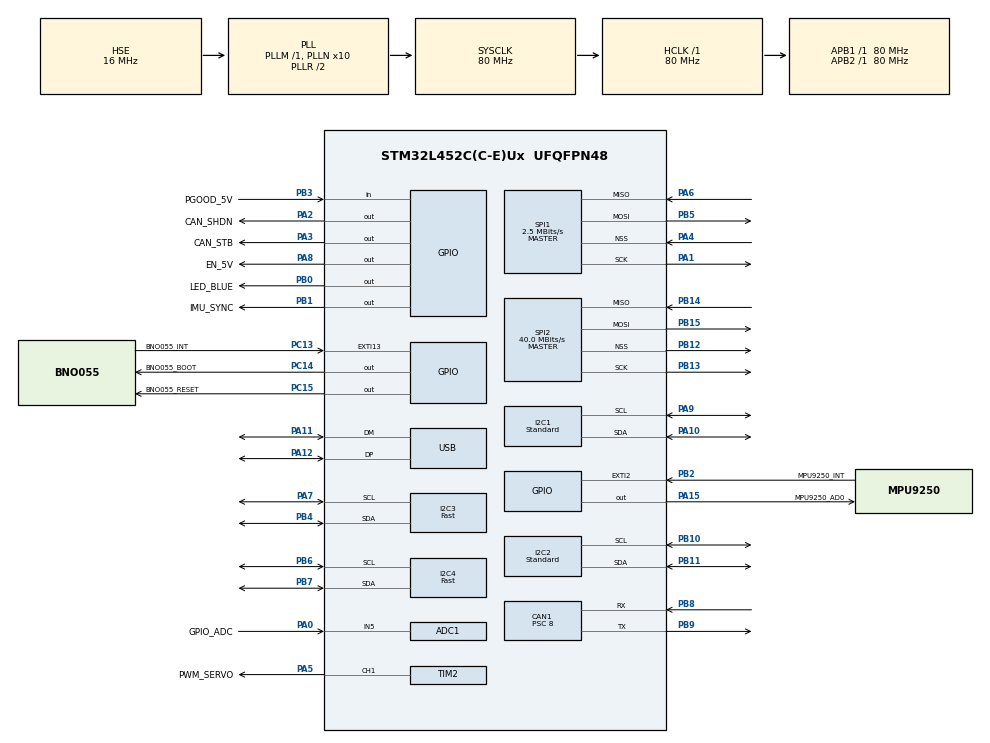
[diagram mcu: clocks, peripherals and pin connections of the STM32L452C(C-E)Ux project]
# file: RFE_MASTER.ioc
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ADC1.Channel-0\#ChannelRegularConversion=ADC_CHANNEL_5
ADC1.NbrOfConversionFlag=1
ADC1.OffsetNumber-0\#ChannelRegularConversion=ADC_OFFSET_NONE
ADC1.Rank-0\#ChannelRegularConversion=1
ADC1.SamplingTime-0\#ChannelRegularConversion=ADC_SAMPLETIME_2CYCLES_5
ADC1.master=1
CAN1.BS1=CAN_BS1_5TQ
CAN1.BS2=CAN_BS2_4TQ
CAN1.CalculateTimeBit=1200
CAN1.CalculateTimeQuantum=100.0
CAN1.Prescaler=8
Dma.I2C1_RX.8.Direction=DMA_PERIPH_TO_MEMORY
Dma.I2C1_RX.8.Instance=DMA1_Channel7
Dma.I2C1_RX.8.MemDataAlignment=DMA_MDATAALIGN_BYTE
Dma.I2C1_RX.8.MemInc=DMA_MINC_ENABLE
Dma.I2C1_RX.8.Mode=DMA_NORMAL
Dma.I2C1_RX.8.PeriphDataAlignment=DMA_PDATAALIGN_BYTE
Dma.I2C1_RX.8.PeriphInc=DMA_PINC_DISABLE
Dma.I2C1_RX.8.Priority=DMA_PRIORITY_LOW
Dma.I2C1_TX.7.Direction=DMA_MEMORY_TO_PERIPH
Dma.I2C1_TX.7.Instance=DMA1_Channel6
Dma.I2C1_TX.7.MemDataAlignment=DMA_MDATAALIGN_BYTE
Dma.I2C1_TX.7.MemInc=DMA_MINC_ENABLE
Dma.I2C1_TX.7.Mode=DMA_NORMAL
Dma.I2C1_TX.7.PeriphDataAlignment=DMA_PDATAALIGN_BYTE
Dma.I2C1_TX.7.PeriphInc=DMA_PINC_DISABLE
Dma.I2C1_TX.7.Priority=DMA_PRIORITY_LOW
Dma.I2C2_RX.0.Direction=DMA_PERIPH_TO_MEMORY
Dma.I2C2_RX.0.Instance=DMA1_Channel5
Dma.I2C2_RX.0.MemDataAlignment=DMA_MDATAALIGN_BYTE
Dma.I2C2_RX.0.MemInc=DMA_MINC_ENABLE
Dma.I2C2_RX.0.Mode=DMA_NORMAL
Dma.I2C2_RX.0.PeriphDataAlignment=DMA_PDATAALIGN_BYTE
Dma.I2C2_RX.0.PeriphInc=DMA_PINC_DISABLE
Dma.I2C2_RX.0.Priority=DMA_PRIORITY_LOW
Dma.I2C2_TX.1.Direction=DMA_MEMORY_TO_PERIPH
Dma.I2C2_TX.1.Instance=DMA1_Channel4
Dma.I2C2_TX.1.MemDataAlignment=DMA_MDATAALIGN_BYTE
Dma.I2C2_TX.1.MemInc=DMA_MINC_ENABLE
Dma.I2C2_TX.1.Mode=DMA_NORMAL
Dma.I2C2_TX.1.PeriphDataAlignment=DMA_PDATAALIGN_BYTE
Dma.I2C2_TX.1.PeriphInc=DMA_PINC_DISABLE
Dma.I2C2_TX.1.Priority=DMA_PRIORITY_LOW
Dma.I2C3_RX.2.Direction=DMA_PERIPH_TO_MEMORY
Dma.I2C3_RX.2.Instance=DMA1_Channel3
Dma.I2C3_RX.2.MemDataAlignment=DMA_MDATAALIGN_BYTE
Dma.I2C3_RX.2.MemInc=DMA_MINC_ENABLE
Dma.I2C3_RX.2.Mode=DMA_NORMAL
Dma.I2C3_RX.2.PeriphDataAlignment=DMA_PDATAALIGN_BYTE
Dma.I2C3_RX.2.PeriphInc=DMA_PINC_DISABLE
Dma.I2C3_RX.2.Priority=DMA_PRIORITY_LOW
Dma.I2C3_TX.3.Direction=DMA_MEMORY_TO_PERIPH
Dma.I2C3_TX.3.Instance=DMA1_Channel2
Dma.I2C3_TX.3.MemDataAlignment=DMA_MDATAALIGN_BYTE
Dma.I2C3_TX.3.MemInc=DMA_MINC_ENABLE
Dma.I2C3_TX.3.Mode=DMA_NORMAL
Dma.I2C3_TX.3.PeriphDataAlignment=DMA_PDATAALIGN_BYTE
Dma.I2C3_TX.3.PeriphInc=DMA_PINC_DISABLE
Dma.I2C3_TX.3.Priority=DMA_PRIORITY_LOW
Dma.I2C4_RX.4.Direction=DMA_PERIPH_TO_MEMORY
Dma.I2C4_RX.4.Instance=DMA2_Channel1
Dma.I2C4_RX.4.MemDataAlignment=DMA_MDATAALIGN_BYTE
Dma.I2C4_RX.4.MemInc=DMA_MINC_ENABLE
Dma.I2C4_RX.4.Mode=DMA_NORMAL
Dma.I2C4_RX.4.PeriphDataAlignment=DMA_PDATAALIGN_BYTE
Dma.I2C4_RX.4.PeriphInc=DMA_PINC_DISABLE
Dma.I2C4_RX.4.Priority=DMA_PRIORITY_LOW
Dma.I2C4_TX.5.Direction=DMA_MEMORY_TO_PERIPH
Dma.I2C4_TX.5.Instance=DMA2_Channel2
Dma.I2C4_TX.5.MemDataAlignment=DMA_MDATAALIGN_BYTE
Dma.I2C4_TX.5.MemInc=DMA_MINC_ENABLE
Dma.I2C4_TX.5.Mode=DMA_NORMAL
Dma.I2C4_TX.5.PeriphDataAlignment=DMA_PDATAALIGN_BYTE
Dma.I2C4_TX.5.PeriphInc=DMA_PINC_DISABLE
Dma.I2C4_TX.5.Priority=DMA_PRIORITY_LOW
Dma.Request0=I2C2_RX
Dma.Request1=I2C2_TX
Dma.Request2=I2C3_RX
Dma.Request3=I2C3_TX
Dma.Request4=I2C4_RX
Dma.Request5=I2C4_TX
Dma.Request6=SPI1_TX
Dma.Request7=I2C1_TX
Dma.Request8=I2C1_RX
Dma.SPI1_TX.6.Direction=DMA_MEMORY_TO_PERIPH
Dma.SPI1_TX.6.Instance=DMA2_Channel4
Dma.SPI1_TX.6.MemDataAlignment=DMA_MDATAALIGN_BYTE
Dma.SPI1_TX.6.MemInc=DMA_MINC_ENABLE
Dma.SPI1_TX.6.Mode=DMA_NORMAL
Dma.SPI1_TX.6.PeriphDataAlignment=DMA_PDATAALIGN_BYTE
Dma.SPI1_TX.6.PeriphInc=DMA_PINC_DISABLE
Dma.SPI1_TX.6.Priority=DMA_PRIORITY_LOW
I2C1.I2C_Speed_Mode=I2C_Standard
I2C2.I2C_Speed_Mode=I2C_Standard
I2C2.Timing=0x10909CEC
I2C3.I2C_Speed_Mode=I2C_Fast
I2C3.Timing=0x00702991
I2C4.I2C_Speed_Mode=I2C_Fast
I2C4.Timing=0x00702991
Mcu.Family=STM32L4
Mcu.Name=STM32L452C(C-E)Ux
Mcu.Package=UFQFPN48
NVIC.CAN1_RX0_IRQn=true\:0\:0\:false\:false\:true\:true
NVIC.CAN1_RX1_IRQn=true\:0\:0\:false\:false\:true\:true
NVIC.CAN1_TX_IRQn=true\:0\:0\:false\:false\:true\:true
NVIC.DMA1_Channel2_IRQn=true\:0\:0\:false\:false\:true\:true
NVIC.DMA1_Channel3_IRQn=true\:0\:0\:false\:false\:true\:true
NVIC.DMA1_Channel4_IRQn=true\:0\:0\:false\:false\:true\:true
NVIC.DMA1_Channel5_IRQn=true\:0\:0\:false\:false\:true\:true
NVIC.DMA1_Channel6_IRQn=true\:0\:0\:false\:false\:true\:true
NVIC.DMA1_Channel7_IRQn=true\:0\:0\:false\:false\:true\:true
NVIC.DMA2_Channel1_IRQn=true\:0\:0\:false\:false\:true\:true
NVIC.DMA2_Channel2_IRQn=true\:0\:0\:false\:false\:true\:true
NVIC.DMA2_Channel4_IRQn=true\:0\:0\:false\:false\:true\:true
NVIC.I2C1_ER_IRQn=true\:0\:0\:false\:false\:true\:true
NVIC.I2C1_EV_IRQn=true\:0\:0\:false\:false\:true\:true
NVIC.I2C2_ER_IRQn=true\:0\:0\:false\:false\:true\:true
NVIC.I2C2_EV_IRQn=true\:0\:0\:false\:false\:true\:true
NVIC.PriorityGroup=NVIC_PRIORITYGROUP_4
NVIC.SPI1_IRQn=true\:0\:0\:false\:false\:true\:true
NVIC.TIM1_UP_TIM16_IRQn=true\:0\:0\:false\:false\:true\:true
NVIC.TIM6_DAC_IRQn=true\:0\:0\:false\:false\:true\:true
NVIC.USB_IRQn=true\:0\:0\:false\:false\:true\:true
PA0.GPIO_Label=GPIO_ADC
PA0.Signal=ADCx_IN5
PA1.GPIO_PuPd=GPIO_PULLUP
PA1.Mode=Full_Duplex_Master
PA1.Signal=SPI1_SCK
PA10.Mode=I2C
PA10.Signal=I2C1_SDA
PA11.Mode=Device
PA11.Signal=USB_DM
PA12.Mode=Device
PA12.Signal=USB_DP
PA13\ (JTMS/SWDIO).Mode=Serial_Wire
PA13\ (JTMS/SWDIO).Signal=SYS_JTMS-SWDIO
PA14\ (JTCK/SWCLK).Mode=Serial_Wire
PA14\ (JTCK/SWCLK).Signal=SYS_JTCK-SWCLK
PA15\ (JTDI).GPIO_Label=MPU9250_AD0
PA15\ (JTDI).Signal=GPIO_Output
PA2.GPIO_Label=CAN_SHDN
PA2.Signal=GPIO_Output
PA3.GPIO_Label=CAN_STB
PA3.Signal=GPIO_Output
PA4.GPIO_PuPd=GPIO_PULLUP
PA4.Mode=NSS_Signal_Hard_Input
PA4.Signal=SPI1_NSS
PA5.GPIO_Label=PWM_SERVO
PA5.Signal=S_TIM2_CH1
PA6.GPIO_PuPd=GPIO_PULLUP
PA6.Mode=Full_Duplex_Master
PA6.Signal=SPI1_MISO
PA7.Mode=I2C
PA7.Signal=I2C3_SCL
PA8.GPIO_Label=EN_5V
PA8.Signal=GPIO_Output
PA9.Mode=I2C
PA9.Signal=I2C1_SCL
PB0.GPIO_Label=LED_BLUE
PB0.Signal=GPIO_Output
PB1.GPIO_Label=IMU_SYNC
PB1.Signal=GPIO_Output
PB10.Mode=I2C
PB10.Signal=I2C2_SCL
PB11.Mode=I2C
PB11.Signal=I2C2_SDA
PB12.Mode=NSS_Signal_Hard_Output
PB12.Signal=SPI2_NSS
PB13.Mode=Full_Duplex_Master
PB13.Signal=SPI2_SCK
PB14.Mode=Full_Duplex_Master
PB14.Signal=SPI2_MISO
PB15.Mode=Full_Duplex_Master
PB15.Signal=SPI2_MOSI
PB2.GPIO_Label=MPU9250_INT
PB2.Signal=GPXTI2
PB3\ (JTDO/TRACESWO).GPIO_Label=PGOOD_5V
PB3\ (JTDO/TRACESWO).Signal=GPIO_Input
PB4\ (NJTRST).Mode=I2C
PB4\ (NJTRST).Signal=I2C3_SDA
PB5.GPIO_PuPd=GPIO_PULLUP
PB5.Mode=Full_Duplex_Master
PB5.Signal=SPI1_MOSI
PB6.Mode=I2C
PB6.Signal=I2C4_SCL
PB7.Mode=I2C
PB7.Signal=I2C4_SDA
PB8.Mode=Master
PB8.Signal=CAN1_RX
PB9.Mode=Master
PB9.Signal=CAN1_TX
PC13.GPIO_Label=BNO055_INT
PC13.Signal=GPXTI13
PC14-OSC32_IN\ (PC14).GPIO_Label=BNO055_BOOT
PC14-OSC32_IN\ (PC14).Signal=GPIO_Output
PC15-OSC32_OUT\ (PC15).GPIO_Label=BNO055_RESET
PC15-OSC32_OUT\ (PC15).Signal=GPIO_Output
PH0-OSC_IN\ (PH0).Mode=HSE-External-Oscillator
PH0-OSC_IN\ (PH0).Signal=RCC_OSC_IN
PH1-OSC_OUT\ (PH1).Mode=HSE-External-Oscillator
PH1-OSC_OUT\ (PH1).Signal=RCC_OSC_OUT
ProjectManager.HeapSize=0x200
ProjectManager.StackSize=0x400
ProjectManager.TargetToolchain=MDK-ARM V5
RCC.ADCFreq_Value=48000000
RCC.AHBFreq_Value=80000000
RCC.APB1Freq_Value=80000000
RCC.APB1TimFreq_Value=80000000
RCC.APB2Freq_Value=80000000
RCC.APB2TimFreq_Value=80000000
RCC.CortexFreq_Value=80000000
RCC.HCLKFreq_Value=80000000
RCC.HSE_VALUE=16000000
RCC.HSI48_VALUE=48000000
RCC.HSI_VALUE=16000000
RCC.LSE_VALUE=32768
RCC.MSI_VALUE=4000000
RCC.PLLN=10
RCC.PLLSAI1N=12
RCC.PLLSAI1Q=RCC_PLLQ_DIV4
RCC.PLLSAI1R=RCC_PLLR_DIV4
RCC.PLLSourceVirtual=RCC_PLLSOURCE_HSE
RCC.SYSCLKFreq_VALUE=80000000
RCC.SYSCLKSource=RCC_SYSCLKSOURCE_PLLCLK
RCC.USBFreq_Value=48000000
RCC.VCOOutputFreq_Value=160000000
SH.ADCx_IN5.0=ADC1_IN5,IN5-Single-Ended
SH.S_TIM2_CH1.0=TIM2_CH1,PWM Generation1 CH1
SPI1.BaudRatePrescaler=SPI_BAUDRATEPRESCALER_32
SPI1.CLKPhase=SPI_PHASE_2EDGE
SPI1.CLKPolarity=SPI_POLARITY_HIGH
SPI1.CalculateBaudRate=2.5 MBits/s
SPI1.DataSize=SPI_DATASIZE_8BIT
SPI1.Direction=SPI_DIRECTION_2LINES
SPI1.Mode=SPI_MODE_MASTER
SPI1.VirtualNSS=VM_NSSHARD
SPI1.VirtualType=VM_MASTER
SPI2.BaudRatePrescaler=SPI_BAUDRATEPRESCALER_2
SPI2.CalculateBaudRate=40.0 MBits/s
SPI2.Direction=SPI_DIRECTION_2LINES
SPI2.Mode=SPI_MODE_MASTER
SPI2.VirtualNSS=VM_NSSHARD
SPI2.VirtualType=VM_MASTER
STMicroelectronics.BlueNRG-MS.1.0.0.ApplicationCcWirelessJjApplication=false
STMicroelectronics.BlueNRG-MS.1.0.0.WirelessJjApplication.apiComponent0=Wireless\:HCI_TL
STMicroelectronics.BlueNRG-MS.1.0.0.WirelessJjApplication.apiComponent1=Wireless\:HCI_TL
STMicroelectronics.BlueNRG-MS.1.0.0.WirelessJjApplication.apiComponent2=Wireless\:HCI_TL_INTERFACE
STMicroelectronics.BlueNRG-MS.1.0.0.WirelessJjApplication.apiComponent3=Wireless\:HCI_TL_INTERFACE
STMicroelectronics.BlueNRG-MS.1.0.0.WirelessJjApplication.apiDoc0=Middlewares/ST/BlueNRG-MS/includes/hci.h
STMicroelectronics.BlueNRG-MS.1.0.0.WirelessJjApplication.apiDoc1=Middlewares/ST/BlueNRG-MS/doc/BlueNRG-MS_UserManual.chm
STMicroelectronics.BlueNRG-MS.1.0.0.WirelessJjApplication.apiDoc2=Middlewares/ST/BlueNRG-MS/hci/hci_tl_patterns/Template/hci_tl_interface.h
STMicroelectronics.BlueNRG-MS.1.0.0.WirelessJjApplication.apiDoc3=Middlewares/ST/BlueNRG-MS/doc/BlueNRG-MS_UserManual.chm
STMicroelectronics.BlueNRG-MS.1.0.0.WirelessJjApplication.cmp_version0=0.0.2
STMicroelectronics.BlueNRG-MS.1.0.0.WirelessJjApplication.cmp_version1=0.0.2
STMicroelectronics.BlueNRG-MS.1.0.0.WirelessJjApplication.component0=Wireless
STMicroelectronics.BlueNRG-MS.1.0.0.WirelessJjApplication.component1=Wireless
STMicroelectronics.BlueNRG-MS.1.0.0.WirelessJjApplication.componentDoc0=Projects/Board_PN/Applications/SensorDemo/readme.txt
STMicroelectronics.BlueNRG-MS.1.0.0.WirelessJjApplication.componentDoc1=Projects/Board_PN/Applications/Virtual_COM_Port/readme.txt
STMicroelectronics.BlueNRG-MS.1.0.0.WirelessJjApplication.description0=SensorDemo sample application
STMicroelectronics.BlueNRG-MS.1.0.0.WirelessJjApplication.description1=Virtual_COM_Port sample application
STMicroelectronics.BlueNRG-MS.1.0.0.WirelessJjApplication.diagnostic0=This component requires one or more component from the same SW pack to operate correctly
STMicroelectronics.BlueNRG-MS.1.0.0.WirelessJjApplication.diagnostic1=This component requires one or more component from the same SW pack to operate correctly
STMicroelectronics.BlueNRG-MS.1.0.0.WirelessJjApplication.documentation0=Documentation/STMicroelectronics.BlueNRG-MS_GettingStarted.pdf
STMicroelectronics.BlueNRG-MS.1.0.0.WirelessJjApplication.documentation1=Documentation/STMicroelectronics.BlueNRG-MS_GettingStarted.pdf
STMicroelectronics.BlueNRG-MS.1.0.0.WirelessJjApplication.group0=Application
STMicroelectronics.BlueNRG-MS.1.0.0.WirelessJjApplication.group1=Application
STMicroelectronics.BlueNRG-MS.1.0.0.WirelessJjApplication.paramName0=ApplicationCcWirelessJjApplication
STMicroelectronics.BlueNRG-MS.1.0.0.WirelessJjApplication.paramName1=ApplicationCcWirelessJjApplication
STMicroelectronics.BlueNRG-MS.1.0.0.WirelessJjApplication.sevirity0=minor
STMicroelectronics.BlueNRG-MS.1.0.0.WirelessJjApplication.sevirity1=minor
STMicroelectronics.BlueNRG-MS.1.0.0.WirelessJjApplication.variant0=SensorDemo
STMicroelectronics.BlueNRG-MS.1.0.0.WirelessJjApplication.variant1=VirtualCOMPort
STMicroelectronics.BlueNRG-MS.1.0.0.WirelessJjApplication_apiSize=4
STMicroelectronics.BlueNRG-MS.1.0.0.WirelessJjApplication_class=Wireless
STMicroelectronics.BlueNRG-MS.1.0.0.WirelessJjApplication_name=BlueNRG-MS
STMicroelectronics.BlueNRG-MS.1.0.0.WirelessJjApplication_size=2
STMicroelectronics.BlueNRG-MS.1.0.0.WirelessJjApplication_vendor=STMicroelectronics
STMicroelectronics.BlueNRG-MS.1.0.0.WirelessJjApplication_version=1.0.0
STMicroelectronics.BlueNRG-MS.1.0.0_MwName0=Application
STMicroelectronics.BlueNRG-MS.1.0.0_NumberOfMw=1
STMicroelectronics.BlueNRG-MS.1.0.0_WirelessJjApplication_RteComponent0=\#define SENSOR_DEMO
STMicroelectronics.BlueNRG-MS.1.0.0_WirelessJjApplication_RteComponent1=\#define VIRTUAL_COM_PORT
STMicroelectronics.BlueNRG-MS.1.0.0_WirelessJjApplication_RteComponentsize=2
STMicroelectronics.BlueNRG-MS.1.0.0_WirelessJjBlueNRGAaMS_RteComponentsize=0
STMicroelectronics.BlueNRG-MS.1.0.0_description=BLE stack and sample applications for BlueNRG-MS module
STMicroelectronics.BlueNRG-MS.1.0.0_license=END_USER_LICENCE_AGREEMENT.pdf
TIM16.Period=100
TIM16.Prescaler=8000
TIM2.Channel-PWM\ Generation1\ CH1=TIM_CHANNEL_1
TIM2.Period=100
TIM2.Prescaler=8000
TIM6.Period=100
TIM6.Prescaler=8000
USB_DEVICE.CLASS_NAME_FS=CDC
USB_DEVICE.VirtualMode=Cdc
USB_DEVICE.VirtualModeFS=Cdc_FS
VP_RNG_VS_RNG.Mode=RNG_Activate
VP_TIM16_VS_ClockSourceINT.Mode=Enable_Timer
VP_TIM6_VS_ClockSourceINT.Mode=Enable_Timer
VP_USB_DEVICE_VS_USB_DEVICE_CDC_FS.Mode=CDC_FS
board=RFE_MASTER

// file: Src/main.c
/**
  ******************************************************************************
  * @file           : main.c
  * @brief          : Main program body
  ******************************************************************************
  * This notice applies to any and all portions of this file
  * that are not between comment pairs USER CODE BEGIN and
  * USER CODE END. Other portions of this file, whether
  * inserted by the user or by software development tools
  * are owned by their respective copyright owners.
  *
  * Copyright (c) 2018 STMicroelectronics International N.V.
  * All rights reserved.
  *
  * Redistribution and use in source and binary forms, with or without
  * modification, are permitted, provided that the following conditions are met:
  *
  * 1. Redistribution of source code must retain the above copyright notice,
  *    this list of conditions and the following disclaimer.
  * 2. Redistributions in binary form must reproduce the above copyright notice,
  *    this list of conditions and the following disclaimer in the documentation
  *    and/or other materials provided with the distribution.
  * 3. Neither the name of STMicroelectronics nor the names of other
  *    contributors to this software may be used to endorse or promote products
  *    derived from this software without specific written permission.
  * 4. This software, including modifications and/or derivative works of this
  *    software, must execute solely and exclusively on microcontroller or
  *    microprocessor devices manufactured by or for STMicroelectronics.
  * 5. Redistribution and use of this software other than as permitted under
  *    this license is void and will automatically terminate your rights under
  *    this license.
  *
  * THIS SOFTWARE IS PROVIDED BY STMICROELECTRONICS AND CONTRIBUTORS "AS IS"
  * AND ANY EXPRESS, IMPLIED OR STATUTORY WARRANTIES, INCLUDING, BUT NOT
  * LIMITED TO, THE IMPLIED WARRANTIES OF MERCHANTABILITY, FITNESS FOR A
  * PARTICULAR PURPOSE AND NON-INFRINGEMENT OF THIRD PARTY INTELLECTUAL PROPERTY
  * RIGHTS ARE DISCLAIMED TO THE FULLEST EXTENT PERMITTED BY LAW. IN NO EVENT
  * SHALL STMICROELECTRONICS OR CONTRIBUTORS BE LIABLE FOR ANY DIRECT, INDIRECT,
  * INCIDENTAL, SPECIAL, EXEMPLARY, OR CONSEQUENTIAL DAMAGES (INCLUDING, BUT NOT
  * LIMITED TO, PROCUREMENT OF SUBSTITUTE GOODS OR SERVICES; LOSS OF USE, DATA,
  * OR PROFITS; OR BUSINESS INTERRUPTION) HOWEVER CAUSED AND ON ANY THEORY OF
  * LIABILITY, WHETHER IN CONTRACT, STRICT LIABILITY, OR TORT (INCLUDING
  * NEGLIGENCE OR OTHERWISE) ARISING IN ANY WAY OUT OF THE USE OF THIS SOFTWARE,
  * EVEN IF ADVISED OF THE POSSIBILITY OF SUCH DAMAGE.
  *
  ******************************************************************************
  */
#include "main.h"
#include "stm32l4xx_hal.h"
#include "adc.h"
#include "can.h"
#include "dma.h"
#include "i2c.h"
#include "rng.h"
#include "spi.h"
#include "tim.h"
#include "usb_device.h"
#include "gpio.h"

/* USER CODE BEGIN Includes */
#include "can_utility.h"
#include "RFE_Expression.h"
#include "RFE_gif.h"
#include "BNO055.h"
#include "MPU9250.h"
#include "usbd_cdc_if.h"

/* USER CODE END Includes */

/* USER CODE BEGIN PV */
/* Private variables ---------------------------------------------------------*/
char Firmware_vers = 0;
char Revision_vers = 0;
char Build_number  = 0;

uint8_t aTxBuffer[] = "PROVA";
uint8_t Tx[RFE_Expression_StreamLength] = {0};
uint8_t *Data_TMP;
uint32_t color=0;
uint8_t SPI_NR_MSG=0;
uint8_t SPI_TX_OK=1;
//uint8_t *DataStream;
uint8_t DataStream[RFE_Expression_StreamLength];
uint32_t *Expression;
uint8_t BrightnessPercent=0;
uint16_t BrightnessStep;
uint8_t fade=0;
uint16_t timefade=500;    // ms
uint16_t time_period=0;   // ms
uint16_t delay;
uint8_t can_message = 0;
uint8_t *BNO055_SensorValue;
uint8_t *MPU9250_SensorValue;

/* USER CODE END PV */

void SystemClock_Config(void);

/* USER CODE BEGIN PFP */
/* Private function prototypes -----------------------------------------------*/
void FadeEffectSet(uint8_t type, uint16_t time);
void DisplayExpression(uint16_t period);
void CANBUS(void);
void BNO055(void);
void MPU9250(void);

/* USER CODE END PFP */

int main(void)
{

  /* MCU Configuration----------------------------------------------------------*/

  /* Reset of all peripherals, Initializes the Flash interface and the Systick. */
  HAL_Init();

  /* Configure the system clock */
  SystemClock_Config();

  /* Initialize all configured peripherals */
  MX_GPIO_Init();
  MX_DMA_Init();
  MX_ADC1_Init();
  MX_CAN1_Init();
  MX_I2C1_Init();
  MX_I2C2_Init();
  MX_I2C3_Init();
  MX_I2C4_Init();
  MX_SPI1_Init();
  MX_SPI2_Init();
  MX_TIM2_Init();
  MX_USB_DEVICE_Init();
  MX_TIM6_Init();
  MX_TIM16_Init();
  MX_RNG_Init();

  /* Infinite loop */
  /* USER CODE BEGIN WHILE */

  HAL_GPIO_WritePin(EN_5V_GPIO_Port, EN_5V_Pin, GPIO_PIN_SET);

  CAN_Config();
  BNO055_init();
  MPU9250_init();

  BrightnessPercent=90;
  TLC59711_BrightnessSet(BrightnessPercent);
  //TLC59711_BrightnessReset();
  delay=850;
  timefade=3000;
  time_period=200;

  //HAL_TIM_Base_Start_IT(&htim6);
  HAL_TIM_Base_Start_IT(&htim16);

  uint8_t i=0;
  uint32_t color=0;

  while (1)
  {
    //HAL_GPIO_TogglePin(LED_BLUE_GPIO_Port, LED_BLUE_Pin);
    //HAL_Delay(200);

    // USB Test
    //uint8_t HiMsg[] = "Hello! ";
    //CDC_Transmit_FS(HiMsg, strlen(HiMsg));
    //CDC_Transmit_FS(received_data, received_data_size);
    //CDC_Transmit_FS(receive_total, receive_total);
    //HAL_Delay(500);

//    for(i=0; i<60;i++){
//      FACE_MASK[i] = color;
//    }
//    color++;
//    Expression=FACE_MASK;
//    //FadeEffectSet(FadeUP, timefade);
//    //FadeEffectSet(FadeDOWN, timefade);
//    DisplayExpression(time_period);
//    HAL_Delay(10);

//    Expression=FACE0;
//    FadeEffectSet(FadeUP, timefade);
//    FadeEffectSet(FadeDOWN, timefade);
//    HAL_Delay(time_period);
//
//    Expression=FACE1;
//    FadeEffectSet(FadeUP, timefade);
//    FadeEffectSet(FadeDOWN, timefade);
//    DisplayExpression(time_period);
//    HAL_Delay(time_period);
//
//    Expression=FACE2;
//    FadeEffectSet(FadeUP, timefade);
//    DisplayExpression(time_period);
//    HAL_Delay(time_period);
//    Expression=FACE3;
//    DisplayExpression(time_period);
//    HAL_Delay(time_period);
//    Expression=FACE4;
//    DisplayExpression(time_period);
//    HAL_Delay(time_period);
//    Expression=FACE5;
//    FadeEffectSet(FadeDOWN, timefade);
//    DisplayExpression(time_period);
//    HAL_Delay(time_period);

  /* USER CODE END WHILE */

  }

}

void SystemClock_Config(void)
{

  RCC_OscInitTypeDef RCC_OscInitStruct;
  RCC_ClkInitTypeDef RCC_ClkInitStruct;
  RCC_PeriphCLKInitTypeDef PeriphClkInit;

    /**Initializes the CPU, AHB and APB busses clocks
    */
  RCC_OscInitStruct.OscillatorType = RCC_OSCILLATORTYPE_HSE;
  RCC_OscInitStruct.HSEState = RCC_HSE_ON;
  RCC_OscInitStruct.PLL.PLLState = RCC_PLL_ON;
  RCC_OscInitStruct.PLL.PLLSource = RCC_PLLSOURCE_HSE;
  RCC_OscInitStruct.PLL.PLLM = 1;
  RCC_OscInitStruct.PLL.PLLN = 10;
  RCC_OscInitStruct.PLL.PLLP = RCC_PLLP_DIV7;
  RCC_OscInitStruct.PLL.PLLQ = RCC_PLLQ_DIV2;
  RCC_OscInitStruct.PLL.PLLR = RCC_PLLR_DIV2;
  if (HAL_RCC_OscConfig(&RCC_OscInitStruct) != HAL_OK)
  {
    _Error_Handler(__FILE__, __LINE__);
  }

    /**Initializes the CPU, AHB and APB busses clocks
    */
  RCC_ClkInitStruct.ClockType = RCC_CLOCKTYPE_HCLK|RCC_CLOCKTYPE_SYSCLK
                              |RCC_CLOCKTYPE_PCLK1|RCC_CLOCKTYPE_PCLK2;
  RCC_ClkInitStruct.SYSCLKSource = RCC_SYSCLKSOURCE_PLLCLK;
  RCC_ClkInitStruct.AHBCLKDivider = RCC_SYSCLK_DIV1;
  RCC_ClkInitStruct.APB1CLKDivider = RCC_HCLK_DIV1;
  RCC_ClkInitStruct.APB2CLKDivider = RCC_HCLK_DIV1;

  if (HAL_RCC_ClockConfig(&RCC_ClkInitStruct, FLASH_LATENCY_4) != HAL_OK)
  {
    _Error_Handler(__FILE__, __LINE__);
  }

  PeriphClkInit.PeriphClockSelection = RCC_PERIPHCLK_I2C1|RCC_PERIPHCLK_I2C2
                              |RCC_PERIPHCLK_I2C4|RCC_PERIPHCLK_I2C3
                              |RCC_PERIPHCLK_USB|RCC_PERIPHCLK_RNG
                              |RCC_PERIPHCLK_ADC;
  PeriphClkInit.I2c1ClockSelection = RCC_I2C1CLKSOURCE_PCLK1;
  PeriphClkInit.I2c2ClockSelection = RCC_I2C2CLKSOURCE_PCLK1;
  PeriphClkInit.I2c3ClockSelection = RCC_I2C3CLKSOURCE_PCLK1;
  PeriphClkInit.I2c4ClockSelection = RCC_I2C4CLKSOURCE_PCLK1;
  PeriphClkInit.AdcClockSelection = RCC_ADCCLKSOURCE_PLLSAI1;
  PeriphClkInit.UsbClockSelection = RCC_USBCLKSOURCE_PLLSAI1;
  PeriphClkInit.RngClockSelection = RCC_RNGCLKSOURCE_PLLSAI1;
  PeriphClkInit.PLLSAI1.PLLSAI1Source = RCC_PLLSOURCE_HSE;
  PeriphClkInit.PLLSAI1.PLLSAI1M = 1;
  PeriphClkInit.PLLSAI1.PLLSAI1N = 12;
  PeriphClkInit.PLLSAI1.PLLSAI1P = RCC_PLLP_DIV7;
  PeriphClkInit.PLLSAI1.PLLSAI1Q = RCC_PLLQ_DIV4;
  PeriphClkInit.PLLSAI1.PLLSAI1R = RCC_PLLR_DIV4;
  PeriphClkInit.PLLSAI1.PLLSAI1ClockOut = RCC_PLLSAI1_48M2CLK|RCC_PLLSAI1_ADC1CLK;
  if (HAL_RCCEx_PeriphCLKConfig(&PeriphClkInit) != HAL_OK)
  {
    _Error_Handler(__FILE__, __LINE__);
  }

    /**Configure the main internal regulator output voltage
    */
  if (HAL_PWREx_ControlVoltageScaling(PWR_REGULATOR_VOLTAGE_SCALE1) != HAL_OK)
  {
    _Error_Handler(__FILE__, __LINE__);
  }

    /**Configure the Systick interrupt time
    */
  HAL_SYSTICK_Config(HAL_RCC_GetHCLKFreq()/1000);

    /**Configure the Systick
    */
  HAL_SYSTICK_CLKSourceConfig(SYSTICK_CLKSOURCE_HCLK);

  /* SysTick_IRQn interrupt configuration */
  HAL_NVIC_SetPriority(SysTick_IRQn, 0, 0);
}

/* USER CODE BEGIN 4 */

// -----------------------------------------------------------------------------------------------------------------------------
// Timers
// -----------------------------------------------------------------------------------------------------------------------------

void HAL_SPI_TxCpltCallback(SPI_HandleTypeDef *hspi)
{
  SPI_TX_OK=1;
  HAL_GPIO_TogglePin(LED_BLUE_GPIO_Port, LED_BLUE_Pin);
}

void HAL_SPI_ErrorCallback(SPI_HandleTypeDef *hspi)
{
  /* Turn LED2 on: Transfer error in reception/transmission process */
  //HAL_GPIO_TogglePin(GPIOE, LD9_Pin);
}

void HAL_TIM_PeriodElapsedCallback(TIM_HandleTypeDef *htim){
  if(htim->Instance==TIM6){         // timer 10ms
    //HAL_GPIO_TogglePin(LED_BLUE_GPIO_Port, LED_BLUE_Pin);
    DisplayExpression(0);
  }

  if(htim->Instance==TIM16){         // timer 10ms
   BNO055();
   MPU9250();
   //HAL_Delay(100);
   CANBUS();
   //HAL_Delay(20);
  }
}

// -----------------------------------------------------------------------------------------------------------------------------
// I2C Callback
// -----------------------------------------------------------------------------------------------------------------------------
void HAL_I2C_MasterTxCpltCallback(I2C_HandleTypeDef *I2cHandle)
{
  if(I2cHandle->Instance==I2C1){
    HAL_I2C_Master_Receive_DMA(&hi2c1, (uint16_t)BNO055_I2C_ADDRESS, (uint8_t*)BNO055_RxBuffer, sizeof(BNO055_RxBuffer));
  }
  if(I2cHandle->Instance==I2C2){
    HAL_I2C_Master_Receive_DMA(&hi2c2, (uint16_t)MPU9250_I2C_ADDRESS, (uint8_t*)MPU9250_RxBuffer, sizeof(MPU9250_RxBuffer));
  }
}

void HAL_I2C_MasterRxCpltCallback(I2C_HandleTypeDef *I2cHandle)
{
  if(I2cHandle->Instance==I2C1){
    BNO055_SensorValue = BNO055_RxBuffer;
  }
  if(I2cHandle->Instance==I2C2){
    MPU9250_SensorValue = MPU9250_RxBuffer;
  }
}

// ----------------------------------------------------------------------------
// Fade effects
// ----------------------------------------------------------------------------
void FadeEffectSet(uint8_t type, uint16_t time) {
  uint8_t BrightnessActual;
  uint16_t timer_counter;

  BrightnessActual=TLC59711_BrightnessGet();
  timer_counter=time/10;    // 10 sono i ms del timer6

  BrightnessStep = (uint16_t)BrightnessActual / timer_counter;      // incremento o decremento del brightness durante il fade
  BrightnessStep=1;
  if(type==FadeUP){
    TLC59711_BrightnessReset();
    fade=FadeUP;
  }
  else if(type==FadeDOWN){
    fade=FadeDOWN;
  }

  HAL_TIM_Base_Start_IT(&htim6);

  HAL_Delay(delay);
}

// ----------------------------------------------------------------------------
// Display with fading effect
// ----------------------------------------------------------------------------
void DisplayExpression(uint16_t period){
  TLC59711_Brightness_Fade(fade, BrightnessStep);
  RFE_Expression(Expression, DontChange, DataStream, RFE_Expression_StreamLength);
  TLC59711_SendDataPacket(DataStream, RFE_Expression_StreamLength);
  //HAL_Delay(period);
}

// -----------------------------------------------------------------------------------------------------------------------------
// CAN messages management
// -----------------------------------------------------------------------------------------------------------------------------
void CANBUS(void){
	switch(can_message){
    case 0x00:
    {
      TxData[0] = 0xff;
      TxData[1] = can_message;
      TxData[2] = *(BNO055_SensorValue+1);
      TxData[3] = *(BNO055_SensorValue+0);
      TxData[4] = *(BNO055_SensorValue+3);
      TxData[5] = *(BNO055_SensorValue+2);
      TxData[6] = *(BNO055_SensorValue+5);
      TxData[7] = *(BNO055_SensorValue+4);
//      TxData[2] = ((*(BNO055_SensorValue+1))<<2) + ((*(BNO055_SensorValue+0))>>6);
//      TxData[3] = (*(BNO055_SensorValue+0))<<2;
//      TxData[4] = ((*(BNO055_SensorValue+3))<<2) + ((*(BNO055_SensorValue+2))>>6);
//      TxData[5] = (*(BNO055_SensorValue+2))<<2;
//      TxData[6] = ((*(BNO055_SensorValue+5))<<2) + ((*(BNO055_SensorValue+4))>>6);
//      TxData[7] = (*(BNO055_SensorValue+4))<<2;

      if (HAL_CAN_AddTxMessage(&hcan1, &TxHeader, TxData, &TxMailbox) != HAL_OK){
        /* Transmission request Error */
        Error_Handler();
      }
      can_message = 1;
    }
    break;

    case 0x01:
    {
      TxData[0] = 0xff;
      TxData[1] = can_message;
      TxData[2] = *(MPU9250_SensorValue+0);
      TxData[3] = *(MPU9250_SensorValue+1);
      TxData[4] = *(MPU9250_SensorValue+2);
      TxData[5] = *(MPU9250_SensorValue+3);
      TxData[6] = *(MPU9250_SensorValue+4);
      TxData[7] = *(MPU9250_SensorValue+5);

      if (HAL_CAN_AddTxMessage(&hcan1, &TxHeader, TxData, &TxMailbox) != HAL_OK){
        /* Transmission request Error */
        Error_Handler();
      }
      can_message = 0;
    }
    break;

    default:
    {
    }
    break;
  }
}

// -----------------------------------------------------------------------------------------------------------------------------
// Read the IMU BNO055 I2C
// -----------------------------------------------------------------------------------------------------------------------------
void BNO055(void){
  BNO055_Read(BNO055_FirstValue);
}

// -----------------------------------------------------------------------------------------------------------------------------
// Read the IMU MPU9250 I2C
// -----------------------------------------------------------------------------------------------------------------------------
void MPU9250(void){
  MPU9250_Registers(MPU9250_ACCEL_XOUT, 0, 1);
  //MPU9250_Registers(MPU9250_GYRO_XOUT, 0, 1);
  //MPU9250_Registers(MPU9250_TEMP_OUT, 0, 2);
}

/* USER CODE END 4 */

void _Error_Handler(char *file, int line)
{
  while(1)
  {
  }
}

/************************ (C) COPYRIGHT STMicroelectronics *****END OF FILE****/
